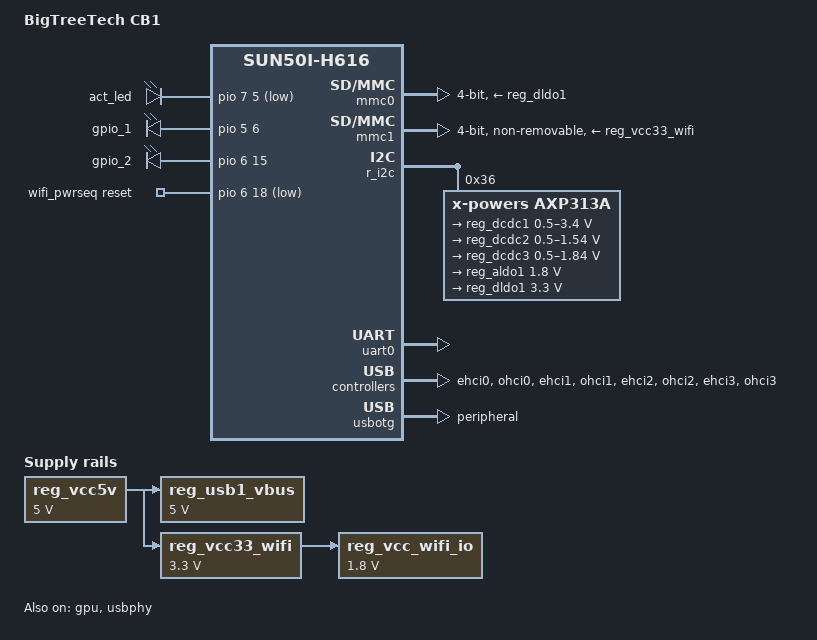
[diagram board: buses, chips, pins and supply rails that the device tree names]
// SPDX-License-Identifier: (GPL-2.0+ or MIT)
/*
 * Copyright (C) 2023 Alan.Ma <tech@biqu3d.com>.
 */

/dts-v1/;

#include "sun50i-h616.dtsi"

#include <dt-bindings/gpio/gpio.h>
#include <dt-bindings/interrupt-controller/arm-gic.h>
#include <dt-bindings/leds/common.h>

/ {
	model = "BigTreeTech CB1";
	compatible = "bigtreetech,cb1", "allwinner,sun50i-h616";

	aliases {
		ethernet0 = &emac1;
		serial0 = &uart0;
	};

	chosen {
		stdout-path = "serial0:115200n8";
	};

	leds {
		compatible = "gpio-leds";

		act_led: led-0 {
			gpios = <&pio 7 5 GPIO_ACTIVE_LOW>; /* PH5 */
			linux,default-trigger = "heartbeat";
		};

		gpio_1 {
			function = "wifi_power";
			gpios = <&pio 5 6 GPIO_ACTIVE_HIGH>; /* PF6 */
			default-state = "on";
		};

		gpio_2 {
			function = "wifi_wake";
			gpios = <&pio 6 15 GPIO_ACTIVE_HIGH>; /* PG15 */
			default-state = "on";
		};
	};

	reg_vcc5v: regulator-vcc5v {
		/* board wide 5V supply directly from the USB-C socket */
		compatible = "regulator-fixed";
		regulator-name = "vcc-5v";
		regulator-min-microvolt = <5000000>;
		regulator-max-microvolt = <5000000>;
		regulator-always-on;
	};

	reg_usb1_vbus: regulator-usb1-vbus {
		compatible = "regulator-fixed";
		regulator-name = "usb1-vbus";
		regulator-min-microvolt = <5000000>;
		regulator-max-microvolt = <5000000>;
		vin-supply = <&reg_vcc5v>;
		enable-active-high;
	};

	reg_vcc33_wifi: vcc33-wifi {
		/* Always on 3.3V regulator for WiFi and BT */
		compatible = "regulator-fixed";
		regulator-name = "vcc33-wifi";
		regulator-min-microvolt = <3300000>;
		regulator-max-microvolt = <3300000>;
		regulator-always-on;
		vin-supply = <&reg_vcc5v>;
	};

	reg_vcc_wifi_io: vcc-wifi-io {
		/* Always on 1.8V/300mA regulator for WiFi and BT IO */
		compatible = "regulator-fixed";
		regulator-name = "vcc-wifi-io";
		regulator-min-microvolt = <1800000>;
		regulator-max-microvolt = <1800000>;
		regulator-always-on;
		vin-supply = <&reg_vcc33_wifi>;
	};

	wifi_pwrseq: wifi-pwrseq {
		compatible = "mmc-pwrseq-simple";
		clocks = <&rtc 1>;
		clock-names = "osc32k-out";
		reset-gpios = <&pio 6 18 GPIO_ACTIVE_LOW>;  /* PG18 */
		post-power-on-delay-ms = <200>;
	};

	ws2812: ws2812 {
		compatible = "rgb-ws2812";
		pinctrl-names = "default";
		rgb_cnt = <2>;
		rgb_value = <0x010000 0x010000>;
		status = "disabled";
	};

	i2c_gpio: i2c-gpio {
		#address-cells = <1>;
		#size-cells = <0>;
		compatible = "i2c-gpio";
		status = "disabled";

		i2c-gpio,delay-us = <3>; /* 100 kHz */

		tft_tp: ns2009@48 {
			compatible = "ti,tsc2007";
			reg = <0x48>;
			status = "disabled";
			ti,x-plate-ohms = <660>;
			ti,rt-thr = <3000>;
			ti,fuzzx = <32>;
			ti,fuzzy = <16>;
			i2c,ignore-nak = <1>;
		};

		light: bh1750@5c {
			compatible = "rohm,bh1750";
			reg = <0x5c>;
			status = "disabled";
		};
	};

	mcp2515_clock: mcp2515_clock {
		compatible = "fixed-clock";
		#clock-cells = <0>;
		clock-frequency  = <12000000>;
	};
};

&mmc0 {
	vmmc-supply = <&reg_dldo1>;
	broken-cd;
	bus-width = <4>;
	max-frequency = <50000000>;
	status = "okay";
};

&mmc1 {
	vmmc-supply = <&reg_vcc33_wifi>;
	vqmmc-supply = <&reg_vcc_wifi_io>;
	mmc-pwrseq = <&wifi_pwrseq>;
	bus-width = <4>;
	max-frequency = <25000000>;
	non-removable;
	mmc-ddr-1_8v;
	status = "okay";
};

&pio {
	can0_pin_irq: can0_pin_irq {
		function = "irq";
		bias-pull-up;
	};
};

&spi1 {
	#address-cells = <1>;
	#size-cells = <0>;
	status = "disabled";
	pinctrl-names = "default";
	pinctrl-0 = <&spi1_pins>;

	can: mcp2515@0 {
		status = "disabled";
		compatible = "microchip,mcp2515";
		reg = <0x0>;
		clocks = <&mcp2515_clock>;
		spi-max-frequency = <12500000>;
		pinctrl-names = "default";
		pinctrl-0 = <&can0_pin_irq>;
		interrupt-parent = <&pio>;
		vdd-supply = <&reg_vcc33_wifi>;
		xceiver-supply = <&reg_vcc33_wifi>;
	};

	tft_35: st7789v@1 {
		status = "disabled";
		compatible = "sitronix,st7796s";
		reg = <1>;
		spi-max-frequency =<12500000>;
		fps =<60>;
		buswidth = <8>;
		rotate =<0>;
		width = <480>;
		height = <320>;
		bpp = <24>;
		bgr;
		regwidth = <8>;
		debug = <0x00>;	 //0x20 show fps
		txbuflen = <307200>;
		spi-cpol;
		spi-cpha;
	};
};

&r_i2c {
	status = "okay";

	axp313a: pmic@36 {
		compatible = "x-powers,axp313a";
		reg = <0x36>;
		wakeup-source;

		regulators{
			reg_dcdc1: dcdc1 {
				regulator-name = "axp313a-dcdc1";
				regulator-min-microvolt = <500000>;
				regulator-max-microvolt = <3400000>;
				regulator-step-delay-us = <25>;
				regulator-final-delay-us = <50>;
				regulator-always-on;
			};

			reg_dcdc2: dcdc2 {
				regulator-name = "axp313a-dcdc2";
				regulator-min-microvolt = <500000>;
				regulator-max-microvolt = <1540000>;
				regulator-step-delay-us = <25>;
				regulator-final-delay-us = <50>;
				regulator-ramp-delay = <200>;
				regulator-always-on;
			};

			reg_dcdc3: dcdc3 {
				regulator-name = "axp313a-dcdc3";
				regulator-min-microvolt = <500000>;
				regulator-max-microvolt = <1840000>;
				regulator-step-delay-us = <25>;
				regulator-final-delay-us = <50>;
				regulator-always-on;
			};

			reg_aldo1: ldo1 {
				regulator-name = "axp313a-aldo1";
				regulator-min-microvolt = <1800000>;
				regulator-max-microvolt = <1800000>;
				regulator-step-delay-us = <25>;
				regulator-final-delay-us = <50>;
				regulator-always-on;
			};

			reg_dldo1: ldo2 {
				regulator-name = "axp313a-dldo1";
				regulator-min-microvolt = <3300000>;
				regulator-max-microvolt = <3300000>;
				regulator-step-delay-us = <25>;
				regulator-final-delay-us = <50>;
				regulator-always-on;
			};
		};
	};
};

&cpu0 {
	cpu-supply = <&reg_dcdc2>;
	status = "okay";
};

&gpu {
	mali-supply = <&reg_dcdc3>;
	status = "okay";
};

&uart0 {
	pinctrl-names = "default";
	pinctrl-0 = <&uart0_ph_pins>;
	status = "okay";
};

&usbphy {
	usb1_vbus-supply = <&reg_usb1_vbus>;
	status = "okay";
};

&ehci0 {
	status = "okay";
};

&ohci0 {
	status = "okay";
};

&ehci1 {
	status = "okay";
};

&ohci1 {
	status = "okay";
};

&ehci2 {
	status = "okay";
};

&ohci2 {
	status = "okay";
};

&ehci3 {
	status = "okay";
};

&ohci3 {
	status = "okay";
};

&usbotg {
	/*
	 * PHY0 pins are connected to a USB-C socket, but a role switch
	 * is not implemented: both CC pins are pulled to GND.
	 * The VBUS pins power the device, so a fixed peripheral mode
	 * is the best choice.
	 * The board can be powered via GPIOs, in this case port0 *can*
	 * act as a host (with a cable/adapter ignoring CC), as VBUS is
	 * then provided by the GPIOs. Any user of this setup would
	 * need to adjust the DT accordingly: dr_mode set to "host",
	 * enabling OHCI0 and EHCI0.
	 */
	dr_mode = "peripheral";
	status = "okay";
};
